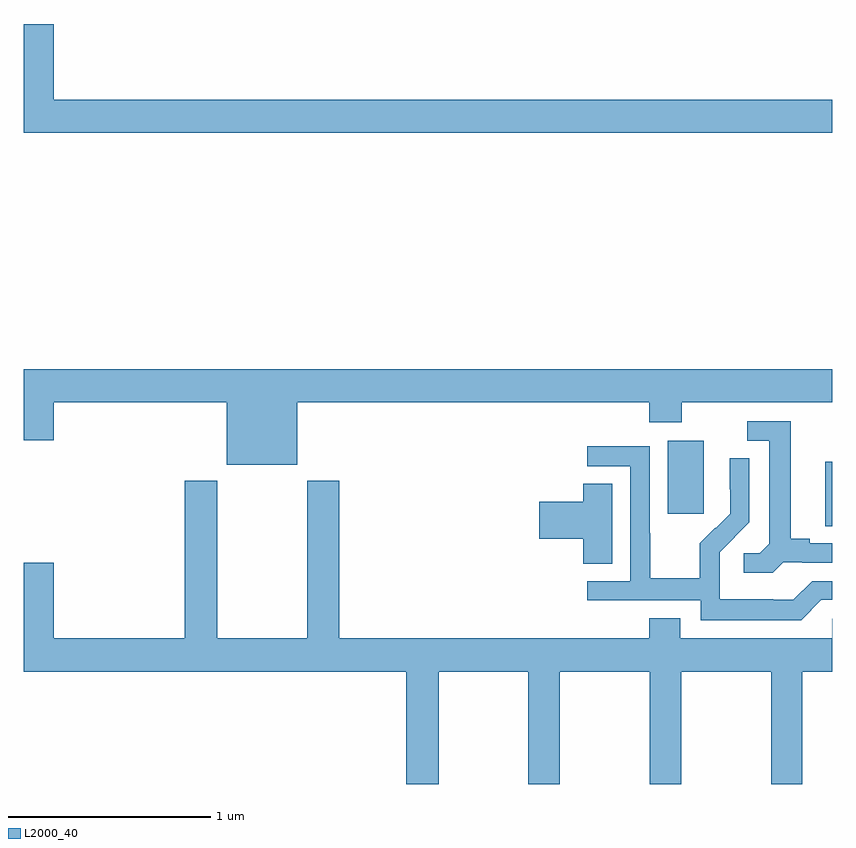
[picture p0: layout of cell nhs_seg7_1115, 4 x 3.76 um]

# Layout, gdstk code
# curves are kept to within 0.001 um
import gdstk
lib = gdstk.Library(unit=1e-6, precision=1e-09)
def R(c, l, rs):  # rectangles x0, y0, x1, y1
    for r in rs: c.add(gdstk.rectangle(r[:2], r[2:], *l))
def P(c, l, *ps):  # polygons
    for p in ps: c.add(gdstk.Polygon(p, *l))
L2000_40 = (2000, 40)

nhs_seg7_1115 = lib.new_cell('nhs_seg7_1115')
R(nhs_seg7_1115, L2000_40, [(192.965,1061.275,193,1061.595), (192.185,1061.337,192.364,1061.698)])
P(nhs_seg7_1115, L2000_40, [(193,1063.384),(189.148,1063.384),(189.148,1063.759),(189,1063.759),(189,1063.22),(193,1063.22)],
  [(190.354,1061.888),(192.095,1061.888),(192.095,1061.789),(192.255,1061.789),(192.255,1061.888),(193,1061.888),(193,1062.052),(189,1062.052),(189,1061.7),(189.148,1061.7),(189.148,1061.888),(190.004,1061.888),(190.004,1061.579),(190.354,1061.579)],
  [(192.756,1061.097),(192.85,1061.097),(192.85,1061.094),(193,1061.094),(193,1061.19),(192.889,1061.19),(192.889,1061.213),(192.793,1061.213),(192.793,1061.793),(192.579,1061.793),(192.579,1061.697),(192.689,1061.697),(192.689,1061.189),(192.642,1061.142),(192.561,1061.142),(192.561,1061.045),(192.704,1061.045)],
  [(192.945,1060.911),(193,1060.911),(193,1061.004),(192.9,1061.004),(192.807,1060.911),(192.707,1060.911),(192.707,1060.915),(192.444,1060.915),(192.444,1061.049),(192.442,1061.049),(192.442,1061.146),(192.588,1061.294),(192.588,1061.612),(192.492,1061.612),(192.492,1061.458),(192.494,1061.458),(192.494,1061.336),(192.423,1061.265),(192.42,1061.268),(192.343,1061.191),(192.343,1061.017),(192.099,1061.017),(192.099,1061.24),(192.096,1061.24),(192.096,1061.67),(191.787,1061.67),(191.787,1061.571),(192,1061.571),(192,1061.004),(191.787,1061.004),(191.787,1060.908),(192.348,1060.908),(192.348,1060.811),(192.845,1060.811)],
  [(192.095,1060.72),(190.562,1060.72),(190.562,1061.5),(190.402,1061.5),(190.402,1060.72),(189.957,1060.72),(189.957,1061.5),(189.797,1061.5),(189.797,1060.72),(189.148,1060.72),(189.148,1061.095),(189,1061.095),(189,1060.556),(190.892,1060.556),(190.892,1060),(191.052,1060),(191.052,1060.556),(191.497,1060.556),(191.497,1060),(191.652,1060),(191.652,1060.556),(192.097,1060.556),(192.097,1060),(192.252,1060),(192.252,1060.556),(192.697,1060.556),(192.697,1060),(192.852,1060),(192.852,1060.556),(193,1060.556),(193,1060.818),(192.999,1060.818),(192.999,1060.72),(192.247,1060.72),(192.247,1060.819),(192.095,1060.819)],
  [(191.911,1061.486),(191.768,1061.486),(191.768,1061.396),(191.55,1061.396),(191.55,1061.213),(191.768,1061.213),(191.768,1061.089),(191.911,1061.089)])

lib.write_gds('nhs_seg7_1115.gds')
